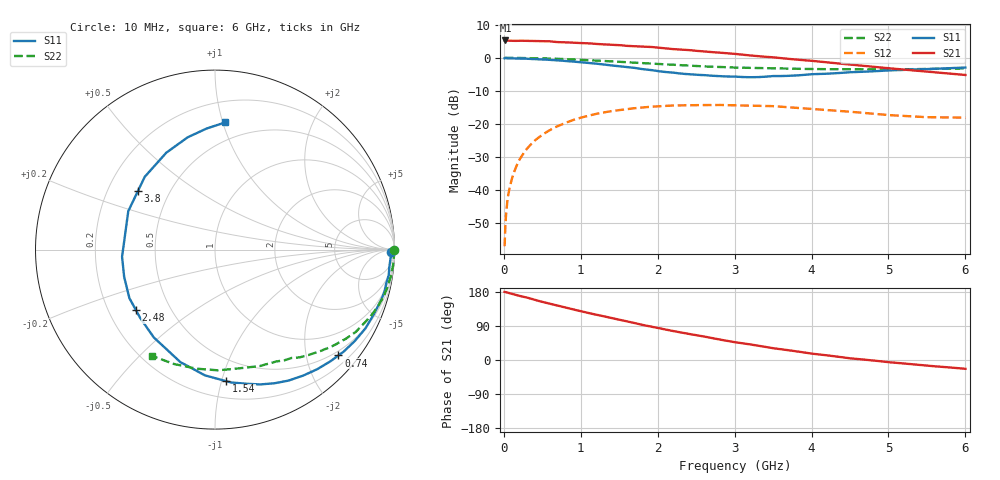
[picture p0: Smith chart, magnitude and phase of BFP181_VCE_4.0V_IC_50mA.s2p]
! Infineon Technologies  Discrete & RF Semiconductors
! BFP181
! VCE = 4.0 V,  IC =  50 mA
! Common Emitter S-Parameters:  Jan 2016
# GHz  S  MA  R  50
!  f  S11  S21  S12  S22
! GHz  MAG  ANG  MAG  ANG  MAG  ANG  MAG  ANG
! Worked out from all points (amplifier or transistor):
!   210 points, 10 MHz to 6 GHz, reference 50 ohm
!   highest |S21| = 5.2 dB at 20 MHz (marker M1)
!   |S21| within 3 dB of that: start of sweep to 2.442 GHz
!   unconditionally stable (mu >= 1): 3.682 GHz to end of sweep
!   at 185 MHz: K = 0.07, MSG = 18.4 dB, |S12| = -31.7 dB
!   at 1.52 GHz: K = 0.45, MSG = 9.8 dB, |S12| = -15.8 dB
!   at 6 GHz: K = 1.45, MAG = 2.5 dB, |S12| = -18.1 dB
!   S11 on the Smith chart (normalised r, x): 10 MHz: 68, -49; 740 MHz: 0.40, -2.65; 1.54 GHz: 0.32, -1.03; 2.48 GHz: 0.32, -0.31; 3.8 GHz: 0.33, +0.31; 6 GHz: 0.36, +1.02
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0.01  0.9807 -0.8  1.828 179.8  0.0014 72.0  0.9992 -0.2
0.02  0.9887 -1.4  1.83 179.5  0.0029 90.5  0.9977 -0.6
0.04  0.9827 -2.2  1.822 178.2  0.0059 91.4  0.9984 -1.1
0.075  0.9775 -4.1  1.814 176.2  0.0107 88.0  0.9983 -2.0
0.13  0.9772 -7.2  1.804 173.2  0.0181 84.2  0.997 -3.5
0.2  0.9724 -11.0  1.814 169.4  0.0281 82.1  0.9956 -5.3
0.4  0.9556 -22.1  1.797 158.8  0.0554 74.7  0.9872 -10.6
0.74  0.9059 -40.6  1.723 141.4  0.0965 61.0  0.96 -19.3
1.02  0.8525 -56.0  1.669 127.9  0.1254 51.0  0.9285 -25.9
1.3  0.7922 -71.5  1.599 115.1  0.1487 41.4  0.8949 -32.2
1.54  0.7351 -85.3  1.54 104.4  0.1638 34.4  0.8633 -36.8
1.9  0.656 -107.1  1.465 88.7  0.1808 24.2  0.818 -43.5
2.02  0.6248 -113.9  1.42 83.7  0.1845 21.4  0.8048 -45.3
2.48  0.5545 -142.7  1.283 66.3  0.1918 10.2  0.7531 -53.0
2.8  0.5283 -163.4  1.199 54.2  0.193 3.6  0.728 -57.9
3.1  0.511 178.8  1.115 44.2  0.1892 -2.2  0.7067 -62.7
3.5  0.5285 156.1  1.017 31.1  0.1851 -8.7  0.6952 -69.0
3.8  0.5399 142.5  0.94 23.0  0.1749 -12.2  0.6813 -74.5
4.1  0.5674 130.4  0.876 14.7  0.1652 -15.6  0.6734 -80.3
4.5  0.6042 116.7  0.793 4.5  0.1524 -19.3  0.6729 -88.5
5.1  0.6488 101.7  0.678 -7.4  0.1335 -19.1  0.6707 -101.2
6  0.7115 85.3  0.549 -23.2  0.1238 -11.6  0.6889 -120.9
